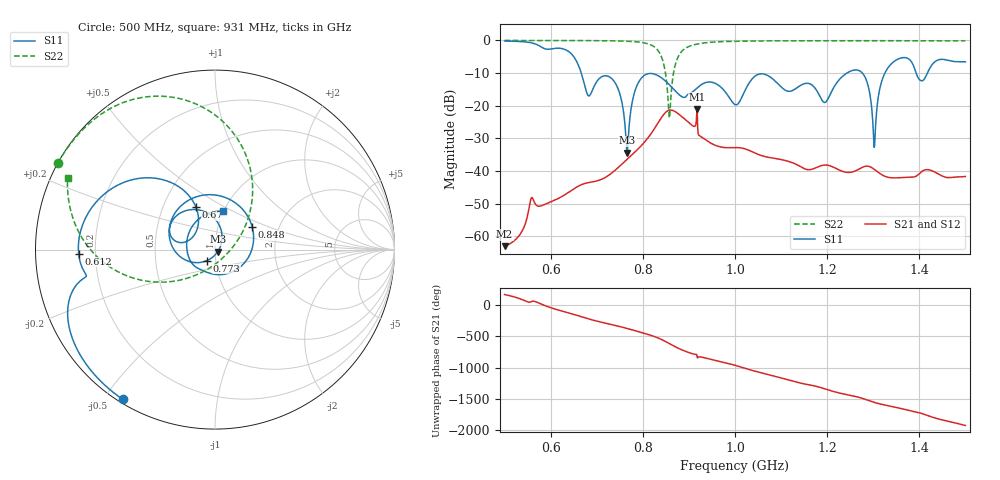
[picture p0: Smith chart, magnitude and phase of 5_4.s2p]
! TOUCHSTONE file generated by CST MICROWAVE STUDIO
! Date and time: Sat Nov 14 19:58:35 2020
! Project name: Scenario_1_Planar_Body_Tissue_Out_of_Line.cst
! Parameters = {dy1=276.8; L_HA=400; Ltissue=700; MT=2.54; Rad_Dielectric=30; Rad_Lower=7.3; Rad_Upper=30; Wtissue=700; a_HA=580; a_WG=246; b_HA=500; b_WG=121; c_HA=0; c_WG=187; d_feed=85; dx1=693; h_feed=15; h_lower=18; h_upper=40; hfat=3; hgap=25; hmuscle=50; hskin=1.5}
! Header version: 2018
! Port assignment regex: !\s*Touchstone port\s*([0-9]+)\s*=\s*(CST MWS port|CST DS port)\s*([0-9]+|Zmin|Zmax)\s*\(\"(.*)\"\)(\s*mode\s*([0-9]+))?.*
! Touchstone port assignment:
! Touchstone port 1 = CST MWS port 1 ("")
! Touchstone port 2 = CST MWS port 2 ("")
# GHz S DB R 50
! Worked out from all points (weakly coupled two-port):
!   1003 points, 500 MHz to 1.5 GHz, reference 50 ohm
!   highest |S21| = -21.08 dB at 918 MHz (marker M1); lowest = -63.0 dB at 500 MHz (marker M2)
!   lowest |S11| = -34.4 dB at 766 MHz (marker M3), VSWR 1.04, Z = 51.5 - j1.22 ohm
!   |S11| at or under -10 dB: 666.3 MHz to 1.243 GHz (576.4 MHz wide, 60.4 % of centre); 1.277 GHz to 1.325 GHz (48.78 MHz wide, 3.75 % of centre); 1.393 GHz to 1.417 GHz (24.4 MHz wide, 1.74 % of centre)
!   |S22| runs from -23.8 to 0.0 dB; largest |S21 - S12| = 0.017
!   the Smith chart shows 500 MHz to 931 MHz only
!   S11 on the Smith chart (normalised r, x): 500 MHz: 0.01, -0.56; 612 MHz: 0.14, -0.01; 670 MHz: 0.73, +0.37; 773 MHz: 0.91, -0.11; 848 MHz: 1.46, +0.39; 931 MHz: 0.99, +0.45
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0.5  -0.18 -121.7  -62.99 171.0  -62.99 171.0  -0.01 151.1
0.612  -2.38 -178.4  -48.68 -67.5  -48.68 -67.5  -0.02 143.2
0.667  -10.31 114.7  -44.15 174.4  -44.15 174.4  -0.04 138.4
0.67  -11.77 114.2  -43.98 167.5  -43.98 167.5  -0.04 138.1
0.737  -12.40 112.7  -40.09 42.4  -40.09 42.4  -0.13 129.8
0.766  -34.41 -38.3  -36.38 -12.9  -36.38 -12.9  -0.24 124.1
0.773  -22.40 -126.2  -35.47 -27.1  -35.47 -27.1  -0.29 122.3
0.834  -10.87 68.6  -25.02 -167.7  -25.02 -167.7  -3.30 83.5
0.848  -12.29 31.4  -22.22 142.7  -22.22 142.7  -9.07 53.9
0.858  -13.62 2.8  -21.33 101.7  -21.33 101.7  -23.75 -60.9
0.877  -16.38 -60.8  -22.46 29.9  -22.46 29.9  -4.91 -168.3
0.918  -14.51 124.4  -21.08 -115.4  -21.39 -104.6  -1.10 158.7
0.931  -13.20 78.5  -29.92 -117.2  -29.92 -117.3  -0.80 154.1
1  -19.65 -155.4  -32.80 117.7  -32.80 117.7  -0.27 140.2
1.053  -10.29 -8.9  -35.03 4.6  -35.03 4.6  -0.16 134.1
1.106  -14.93 -165.7  -36.65 -97.3  -36.65 -97.3  -0.12 129.2
1.167  -13.65 -19.4  -39.44 155.9  -39.44 155.9  -0.09 124.2
1.203  -17.56 154.8  -38.26 81.7  -38.26 81.7  -0.09 121.4
1.272  -9.44 -6.2  -39.17 -42.1  -39.17 -42.1  -0.08 116.2
1.302  -32.72 -3.8  -39.44 -116.6  -39.44 -116.6  -0.09 114.0
1.334  -8.01 34.9  -41.95 -172.2  -41.95 -172.2  -0.09 111.5
1.5  -6.54 -48.4  -41.65 -126.3  -41.65 -126.3  -0.13 97.9
